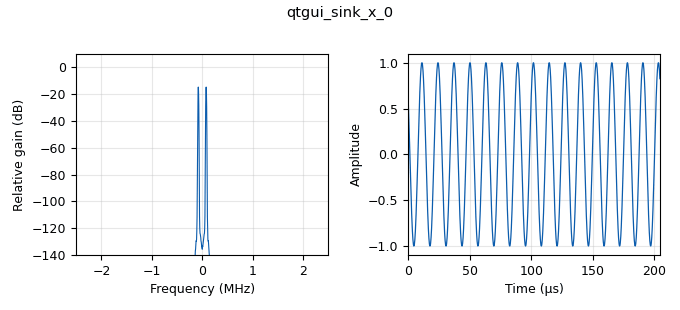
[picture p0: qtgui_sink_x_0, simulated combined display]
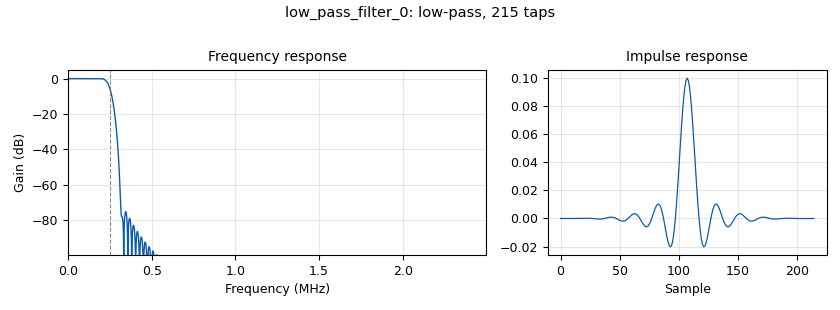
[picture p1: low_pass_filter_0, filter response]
options:
  parameters:
    generate_options: qt_gui
    id: chirp_generator
    output_language: python
    title: Not titled yet
  states: {}

blocks:
- name: center_freq
  id: variable
  parameters:
    value: '50000000'
  states: {}
- name: samp_rate
  id: variable
  parameters:
    value: '5000000'
  states: {}
- name: analog_sig_source_x_0
  id: analog_sig_source_x
  parameters:
    amp: '1'
    freq: '100'
    offset: '0'
    phase: '0'
    samp_rate: samp_rate
    type: float
    waveform: analog.GR_SAW_WAVE
  states: {}
- name: blocks_complex_to_float_0
  id: blocks_complex_to_float
  parameters: {}
  states: {}
- name: blocks_complex_to_float_1
  id: blocks_complex_to_float
  parameters: {}
  states: {}
- name: blocks_float_to_complex_0
  id: blocks_float_to_complex
  parameters: {}
  states: {}
- name: blocks_head_0
  id: blocks_head
  parameters:
    num_items: int((1-delay_coeff)*(samp_rate/chirp_freq))
    type: float
  states: {state: disabled}
- name: blocks_head_0_0
  id: blocks_head
  parameters:
    num_items: int(0.8*(samp_rate/chirp_freq))
    type: float
  states: {}
- name: blocks_multiply_xx_0
  id: blocks_multiply_xx
  parameters:
    type: float
  states: {}
- name: blocks_skiphead_0
  id: blocks_skiphead
  parameters:
    num_items: int(delay_coeff*(samp_rate/chirp_freq))
    type: float
  states: {state: disabled}
- name: blocks_skiphead_0_0
  id: blocks_skiphead
  parameters:
    num_items: int(0.1*(samp_rate/chirp_freq))
    type: float
  states: {}
- name: blocks_vco_f_0
  id: blocks_vco_f
  parameters:
    amplitude: '1'
    samp_rate: samp_rate
    sensitivity: '1000000'
  states: {}
- name: low_pass_filter_0
  id: low_pass_filter
  parameters:
    cutoff_freq: '250000'
    decim: '1'
    gain: '1'
    samp_rate: samp_rate
    type: fir_filter_fff
    width: samp_rate/64
    win: window.WIN_BLACKMAN
  states: {}
- name: note_0
  id: note
  parameters: {}
  states: {}
- name: note_1
  id: note
  parameters:
    note: need to fix param dependancy on chip freq
  states: {}
- name: qtgui_sink_x_0
  id: qtgui_sink_x
  parameters:
    bw: samp_rate
    fc: '0'
    fftsize: '1024'
    rate: '0.1'
    type: float
  states: {}
- name: qtgui_sink_x_0_1_0_0
  id: qtgui_sink_x
  parameters:
    bw: samp_rate
    fc: '0'
    fftsize: '1024'
    name: '"Filtered Output"'
    rate: '10000'
    type: float
  states: {}
- name: qtgui_sink_x_0_1_0_0_0
  id: qtgui_sink_x
  parameters:
    bw: samp_rate
    fc: '0'
    fftsize: '1024'
    name: '"Filtered Output"'
    rate: '1000'
    type: float
  states: {state: disabled}
- name: qtgui_sink_x_0_1_0_0_1
  id: qtgui_sink_x
  parameters:
    bw: samp_rate
    fc: '0'
    fftsize: '1024'
    name: '"Filtered Output"'
    rate: '10000'
    type: float
  states: {}
- name: qtgui_sink_x_0_1_0_0_2
  id: qtgui_sink_x
  parameters:
    bw: samp_rate
    fc: '0'
    fftsize: '1024'
    name: '"Filtered Output"'
    rate: '10000'
    type: float
  states: {}
- name: qtgui_time_sink_x_0
  id: qtgui_time_sink_x
  parameters:
    size: '1024'
    srate: samp_rate
    type: float
    update_time: '1000'
  states: {state: disabled}
- name: uhd_usrp_sink_0
  id: uhd_usrp_sink
  parameters:
    ant0: '"TX/RX"'
    ant1: '"TX/RX"'
    bw0: samp_rate/2
    bw1: samp_rate/2
    center_freq0: center_freq
    center_freq1: center_freq
    dev_addr: '"serial=326F639"'
    gain0: '0.3'
    gain1: '0'
    gain_type0: normalized
    gain_type1: normalized
    lo_export1: 'False'
    lo_source1: internal
    nchan: '2'
    samp_rate: samp_rate
    show_lo_controls: 'True'
    stream_args: num send f rames = 1024
    stream_chans: '[0,1]'
    sync: sync
    type: fc32
  states: {}
- name: uhd_usrp_source_0_0
  id: uhd_usrp_source
  parameters:
    ant0: '"RX2"'
    ant1: '"RX2"'
    bw0: samp_rate/2
    bw1: samp_rate/2
    center_freq0: center_freq
    center_freq1: center_freq
    dev_addr: '"serial=326F639"'
    gain0: '1'
    gain1: '1'
    gain_type0: normalized
    gain_type1: normalized
    lo_export1: 'False'
    lo_source1: internal
    nchan: '2'
    rx_agc0: Disabled
    rx_agc1: Disabled
    samp_rate: samp_rate
    show_lo_controls: 'True'
    stream_args: num send f rames = 1024
    stream_chans: '[0,1]'
    sync: none
    type: fc32
  states: {}

connections:
- [analog_sig_source_x_0, '0', blocks_vco_f_0, '0']
- [blocks_complex_to_float_0, '0', blocks_multiply_xx_0, '0']
- [blocks_complex_to_float_1, '0', blocks_multiply_xx_0, '1']
- [blocks_float_to_complex_0, '0', uhd_usrp_sink_0, '0']
- [blocks_float_to_complex_0, '0', uhd_usrp_sink_0, '1']
- [blocks_head_0, '0', qtgui_sink_x_0_1_0_0_0, '0']
- [blocks_head_0_0, '0', qtgui_sink_x_0_1_0_0, '0']
- [blocks_multiply_xx_0, '0', blocks_skiphead_0, '0']
- [blocks_multiply_xx_0, '0', low_pass_filter_0, '0']
- [blocks_multiply_xx_0, '0', qtgui_sink_x_0_1_0_0_1, '0']
- [blocks_skiphead_0, '0', blocks_head_0, '0']
- [blocks_skiphead_0_0, '0', blocks_head_0_0, '0']
- [blocks_vco_f_0, '0', blocks_float_to_complex_0, '0']
- [blocks_vco_f_0, '0', qtgui_sink_x_0, '0']
- [low_pass_filter_0, '0', blocks_skiphead_0_0, '0']
- [low_pass_filter_0, '0', qtgui_sink_x_0_1_0_0_2, '0']
- [uhd_usrp_source_0_0, '0', blocks_complex_to_float_0, '0']
- [uhd_usrp_source_0_0, '1', blocks_complex_to_float_1, '0']

metadata:
  file_format: 1
  grc_version: 3.9.8.0-rc1
